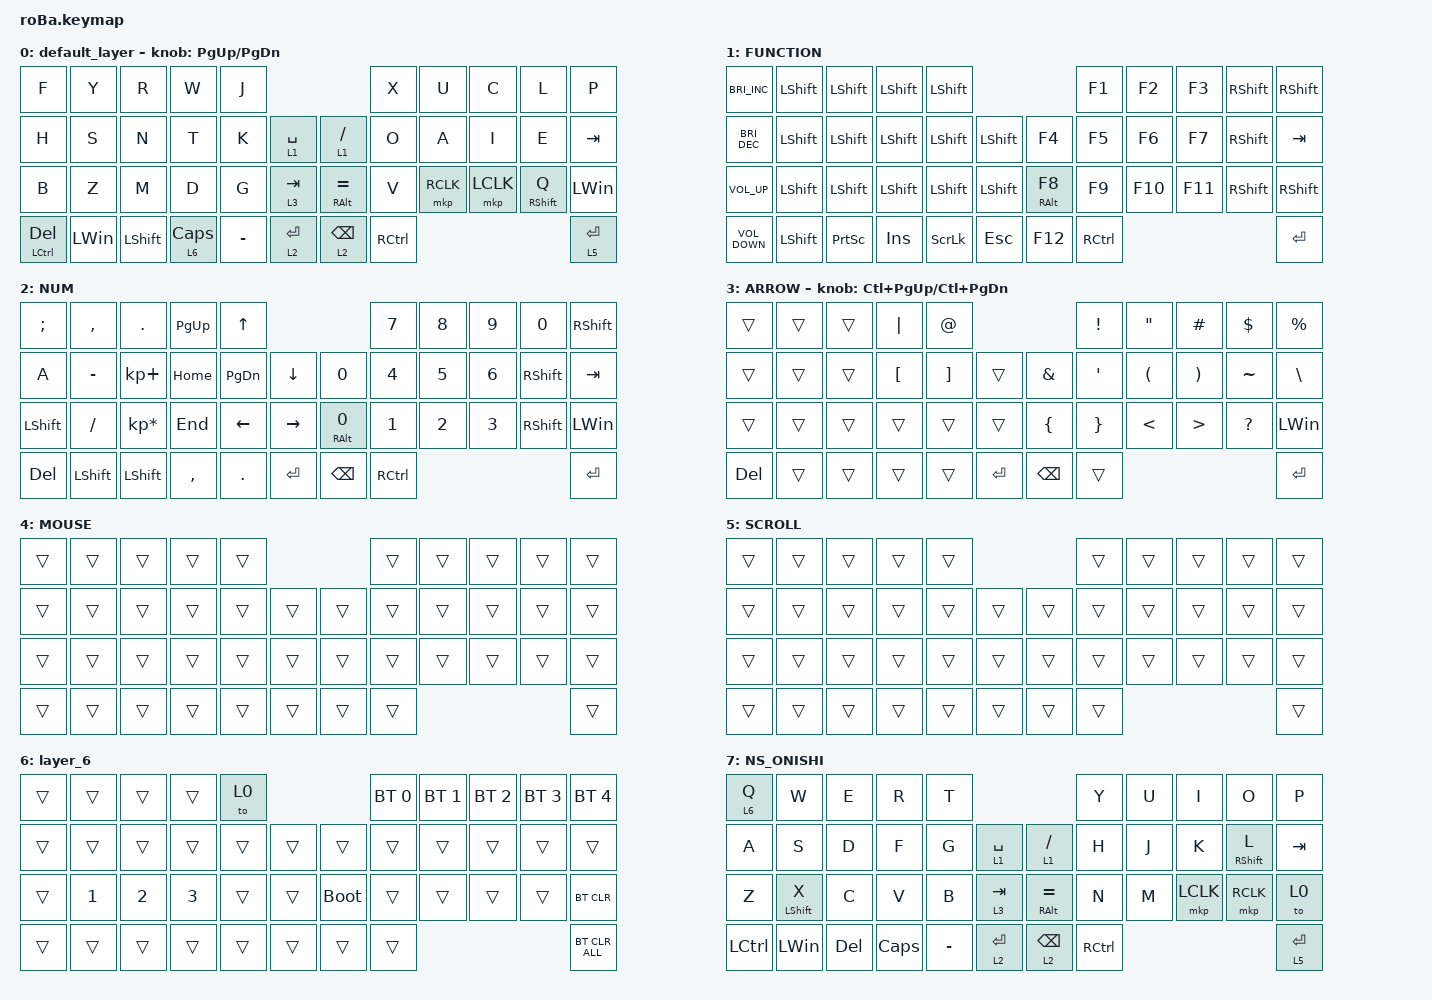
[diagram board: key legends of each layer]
#include <behaviors.dtsi>
#include <dt-bindings/zmk/bt.h>
#include <dt-bindings/zmk/keys.h>
#include <dt-bindings/zmk/pointing.h>

&mt {
    flavor = "balanced";
    quick-tap-ms = <0>;
};

&trackball {
    automouse-layer = <4>;
    scroll-layers = <5>;

    // arrows {
    //     layers = <3>;
    //     bindings =
    //         <&kp RIGHT_ARROW>,
    //         <&kp LEFT_ARROW>,
    //         <&kp UP_ARROW>,
    //         <&kp DOWN_ARROW>;
    //     tick = <10>;
    //     wait-ms = <5>;
    //     tap-ms = <5>;
    // };
};

/ {
    combos { compatible = "zmk,combos"; };

    macros {
        to_layer_0: to_layer_0 {
            compatible = "zmk,behavior-macro-one-param";
            #binding-cells = <1>;
            bindings = <&to 4 &macro_param_1to1 &kp MACRO_PLACEHOLDER>;
            label = "TO_LAYER_0";
        };
    };

    behaviors {
        lt_to_layer_0: lt_to_layer_0 {
            compatible = "zmk,behavior-hold-tap";
            label = "LAYER_TAP_TO_0";
            bindings = <&mo>, <&to_layer_0>;

            #binding-cells = <2>;
            tapping-term-ms = <200>;
        };
    };

    keymap {
        compatible = "zmk,keymap";

        default_layer {
            bindings = <
&kp F                    &kp Y         &kp R           &kp W       &kp J                                            &kp X              &kp U      &kp C      &kp L              &kp P
&kp H                    &kp S         &kp N           &kp T       &kp K      &lt 1 SPACE      &lt 1 SLASH          &kp O              &kp A      &kp I      &kp E              &kp TAB
&kp B                    &kp Z         &kp M           &kp D       &kp G      &lt 3 TAB        &mt RIGHT_ALT EQUAL  &kp V              &mkp RCLK  &mkp LCLK  &mt RIGHT_SHIFT Q  &kp LEFT_WIN
&mt LEFT_CONTROL DELETE  &kp LEFT_WIN  &kp LEFT_SHIFT  &lt 6 CAPS  &kp MINUS  &lt 2 ENTER      &lt 2 BACKSPACE      &kp RIGHT_CONTROL                                           &lt 5 ENTER
            >;

            sensor-bindings = <&inc_dec_kp PG_UP PAGE_DOWN>;
        };

        FUNCTION {
            bindings = <
&kp C_BRIGHTNESS_INC  &kp LEFT_SHIFT  &kp LEFT_SHIFT   &kp LEFT_SHIFT  &kp LEFT_SHIFT                                        &kp F1             &kp F2   &kp F3   &kp RIGHT_SHIFT  &kp RIGHT_SHIFT
&kp C_BRIGHTNESS_DEC  &kp LEFT_SHIFT  &kp LEFT_SHIFT   &kp LEFT_SHIFT  &kp LEFT_SHIFT  &kp LEFT_SHIFT      &kp F4            &kp F5             &kp F6   &kp F7   &kp RIGHT_SHIFT  &kp TAB
&kp C_VOLUME_UP       &kp LEFT_SHIFT  &kp LEFT_SHIFT   &kp LEFT_SHIFT  &kp LEFT_SHIFT  &kp LEFT_SHIFT      &mt RIGHT_ALT F8  &kp F9             &kp F10  &kp F11  &kp RIGHT_SHIFT  &kp RIGHT_SHIFT
&kp C_VOLUME_DOWN     &kp LEFT_SHIFT  &kp PRINTSCREEN  &kp INS         &kp SCROLLLOCK  &kp ESCAPE          &kp F12           &kp RIGHT_CONTROL                                     &kp ENTER
            >;
        };

        NUM {
            bindings = <
&kp SEMICOLON   &kp COMMA       &kp PERIOD       &kp PAGE_UP  &kp UP_ARROW                                                 &kp NUMBER_7       &kp NUMBER_8  &kp NUMBER_9  &kp N0           &kp RIGHT_SHIFT
&kp A           &kp MINUS       &kp KP_PLUS      &kp HOME     &kp PAGE_DOWN   &kp DOWN_ARROW       &kp N0                  &kp NUMBER_4       &kp NUMBER_5  &kp NUMBER_6  &kp RIGHT_SHIFT  &kp TAB
&kp LEFT_SHIFT  &kp SLASH       &kp KP_ASTERISK  &kp END      &kp LEFT_ARROW  &kp RIGHT_ARROW      &mt RIGHT_ALT NUMBER_0  &kp NUMBER_1       &kp NUMBER_2  &kp NUMBER_3  &kp RIGHT_SHIFT  &kp LEFT_WIN
&kp DELETE      &kp LEFT_SHIFT  &kp LEFT_SHIFT   &kp COMMA    &kp PERIOD      &kp ENTER            &kp BACKSPACE           &kp RIGHT_CONTROL                                               &kp ENTER
            >;
        };

        ARROW {
            bindings = <
&trans      &trans  &trans  &kp PIPE          &kp AT                                            &kp EXCL          &kp DOUBLE_QUOTES     &kp HASH               &kp DOLLAR    &kp PERCENT
&trans      &trans  &trans  &kp LEFT_BRACKET  &kp RIGHT_BRACKET  &trans         &kp AMPERSAND   &kp SINGLE_QUOTE  &kp LEFT_PARENTHESIS  &kp RIGHT_PARENTHESIS  &kp TILDE     &kp BACKSLASH
&trans      &trans  &trans  &trans            &trans             &trans         &kp LEFT_BRACE  &kp RIGHT_BRACE   &kp LESS_THAN         &kp GREATER_THAN       &kp QUESTION  &kp LEFT_WIN
&kp DELETE  &trans  &trans  &trans            &trans             &kp ENTER      &kp BACKSPACE   &trans                                                                       &kp ENTER
            >;

            sensor-bindings = <&inc_dec_kp LC(PAGE_UP) LC(PAGE_DOWN)>;
        };

        MOUSE {
            bindings = <
&trans  &trans  &trans  &trans  &trans                      &trans  &trans  &trans  &trans  &trans
&trans  &trans  &trans  &trans  &trans  &trans      &trans  &trans  &trans  &trans  &trans  &trans
&trans  &trans  &trans  &trans  &trans  &trans      &trans  &trans  &trans  &trans  &trans  &trans
&trans  &trans  &trans  &trans  &trans  &trans      &trans  &trans                          &trans
            >;
        };

        SCROLL {
            bindings = <
&trans  &trans  &trans  &trans  &trans                      &trans  &trans  &trans  &trans  &trans
&trans  &trans  &trans  &trans  &trans  &trans      &trans  &trans  &trans  &trans  &trans  &trans
&trans  &trans  &trans  &trans  &trans  &trans      &trans  &trans  &trans  &trans  &trans  &trans
&trans  &trans  &trans  &trans  &trans  &trans      &trans  &trans                          &trans
            >;
        };

        layer_6 {
            bindings = <
&trans  &trans        &trans        &trans        &to 0                            &bt BT_SEL 0  &bt BT_SEL 1  &bt BT_SEL 2  &bt BT_SEL 3  &bt BT_SEL 4
&trans  &trans        &trans        &trans        &trans  &trans      &trans       &trans        &trans        &trans        &trans        &trans
&trans  &kp NUMBER_1  &kp NUMBER_2  &kp NUMBER_3  &trans  &trans      &bootloader  &trans        &trans        &trans        &trans        &bt BT_CLR
&trans  &trans        &trans        &trans        &trans  &trans      &trans       &trans                                                  &bt BT_CLR_ALL
            >;
        };

        NS_ONISHI {
            bindings = <
&lt 6 Q           &kp W             &kp E       &kp R     &kp T                                            &kp Y      &kp U  &kp I      &kp O              &kp P
&kp A             &kp S             &kp D       &kp F     &kp G      &lt 1 SPACE      &lt 1 SLASH          &kp H      &kp J  &kp K      &mt RIGHT_SHIFT L  &kp TAB
&kp Z             &mt LEFT_SHIFT X  &kp C       &kp V     &kp B      &lt 3 TAB        &mt RIGHT_ALT EQUAL  &kp N      &kp M  &mkp LCLK  &mkp RCLK          &to 0
&kp LEFT_CONTROL  &kp LEFT_WIN      &kp DELETE  &kp CAPS  &kp MINUS  &lt 2 ENTER      &lt 2 BACKSPACE      &kp RCTRL                                       &lt 5 ENTER
            >;
        };
    };
};
